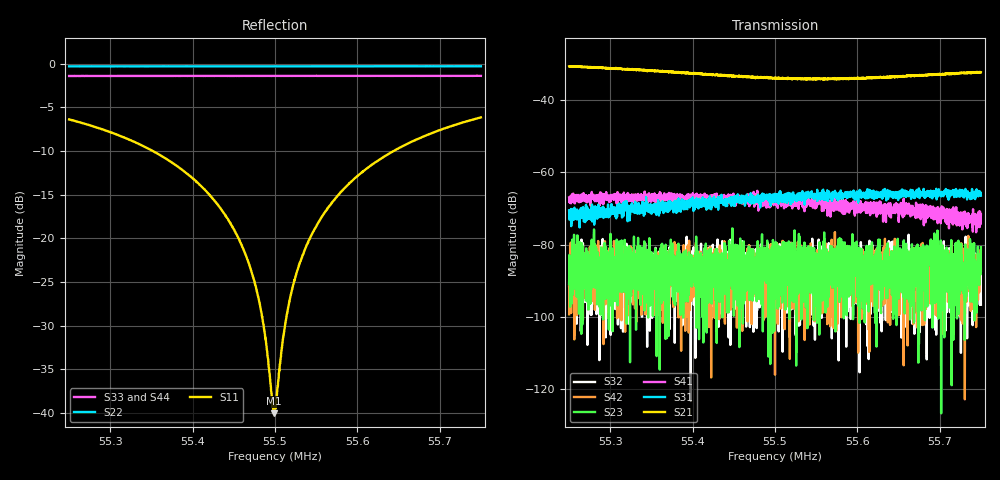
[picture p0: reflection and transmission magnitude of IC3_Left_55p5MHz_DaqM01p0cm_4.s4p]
#  HZ  S  DB  R  50.00
! Rohde & Schwarz Vector Network Analyzer
! Rohde-Schwarz,ZNB8-4Port,1311601044102961,2.82
! Created: UTC 2/13/2019, 8:45:56 AM
! freq[Hz]  db:S11  ang:S11  db:S12  ang:S12  db:S13  ang:S13  db:S14  ang:S14
!  db:S21  ang:S21  db:S22  ang:S22  db:S23  ang:S23  db:S24  ang:S24
!  db:S31  ang:S31  db:S32  ang:S32  db:S33  ang:S33  db:S34  ang:S34
!  db:S41  ang:S41  db:S42  ang:S42  db:S43  ang:S43  db:S44  ang:S44
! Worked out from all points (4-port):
!   2001 points, 55.25 MHz to 55.75 MHz, reference 50 ohm
!   strongest paths, dB at 55.25 MHz, 55.375 MHz, 55.5 MHz, 55.625 MHz, 55.75 MHz:
!     S21: -30.8, -32.4, -34.1, -33.9, -32.4
!     S31: -70.5, -69.7, -66.7, -66.8, -66.4
!     S41: -67.0, -66.8, -67.3, -70.1, -71.8
!     S23: -90.9, -86.0, -94.9, -92.3, -80.7
!     S42: -99.3, -84.9, -115.9, -82.8, -87.2
!     S32: -91.5, -90.2, -87.4, -81.6, -96.6
!   lowest |S11| = -40.0 dB at 55.4985 MHz (marker M1), VSWR 1.02, Z = 50.4 + j0.924 ohm
!   |S11| at or under -10 dB: 55.352 MHz to 55.6437 MHz (291.7 kHz wide, 0.526 % of centre)
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5.525e7  -6.37 -164.9  -30.66 66.8  -72.53 -27.4  -66.36 -169.1
         -30.76 66.4  -0.29 94.6  -90.89 124.7  -79.95 -86.5
         -70.53 -29.8  -91.50 -5.9  -1.39 34.9  -92.50 -112.3
         -67.01 -178.3  -99.26 -98.6  -86.08 -118.2  -1.39 28.4
5.54355e7  -16.78 157.8  -33.16 64.3  -68.42 -48.0  -67.12 167.0
           -33.26 64.3  -0.29 91.2  -82.37 0.0  -82.21 110.0
           -68.04 -53.2  -99.53 -93.3  -1.38 32.7  -88.74 120.0
           -67.42 159.3  -86.64 -39.7  -92.28 22.3  -1.37 26.2
5.54755e7  -25.12 143.0  -33.69 66.7  -67.18 -52.7  -66.78 160.0
           -33.75 67.1  -0.28 90.4  -84.43 -170.6  -85.28 -136.9
           -66.74 -52.6  -86.76 -169.2  -1.38 32.2  -90.50 -171.8
           -68.28 140.8  -91.45 19.2  -90.62 -103.5  -1.37 25.7
5.54985e7  -40.03 67.0  -33.95 68.6  -66.76 -57.2  -67.46 149.6
           -33.99 68.6  -0.29 90.0  -81.13 -162.4  -91.99 -155.3
           -67.00 -61.6  -84.75 155.8  -1.38 31.9  -91.93 -90.4
           -67.77 148.9  -92.05 82.3  -89.73 29.5  -1.37 25.4
5.552275e7  -25.07 -25.9  -34.06 69.9  -66.59 -64.1  -67.64 147.7
            -34.22 71.2  -0.28 89.6  -95.88 149.3  -83.76 -143.8
            -66.36 -62.8  -91.42 51.8  -1.38 31.6  -95.97 -0.7
            -68.15 150.3  -83.37 11.9  -91.08 -35.6  -1.37 25.1
5.55625e7  -16.74 -40.7  -34.17 75.8  -66.85 -71.5  -69.26 143.8
           -34.21 75.8  -0.28 88.9  -93.30 -28.1  -84.53 -77.3
           -66.26 -78.8  -80.74 -77.1  -1.38 31.2  -86.38 -108.2
           -67.22 135.6  -84.79 -52.3  -88.00 146.6  -1.37 24.6
5.575e7  -6.13 -79.7  -32.34 84.2  -65.69 -96.8  -75.70 103.1
         -32.43 84.5  -0.28 85.5  -80.72 -144.4  -91.87 45.5
         -66.42 -97.7  -96.62 -31.0  -1.38 28.9  -85.67 -7.6
         -71.77 122.3  -87.23 -24.3  -88.31 92.0  -1.37 22.3
